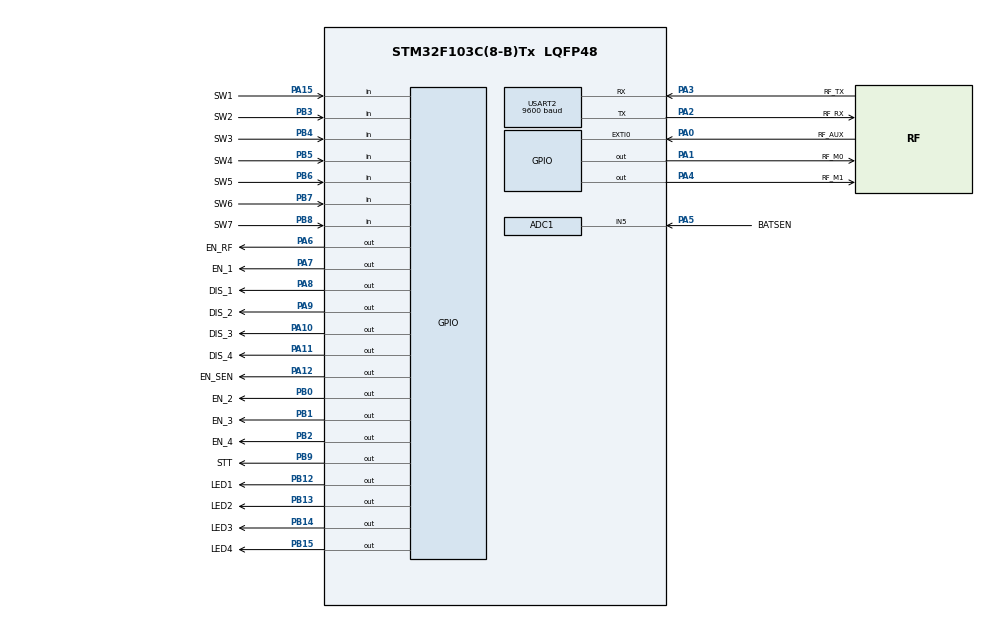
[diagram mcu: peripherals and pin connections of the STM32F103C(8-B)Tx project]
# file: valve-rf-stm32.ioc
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ADC1.Channel-0\#ChannelRegularConversion=ADC_CHANNEL_5
ADC1.ContinuousConvMode=ENABLE
ADC1.NbrOfConversionFlag=1
ADC1.Rank-0\#ChannelRegularConversion=1
ADC1.SamplingTime-0\#ChannelRegularConversion=ADC_SAMPLETIME_239CYCLES_5
ADC1.master=1
Dma.ADC1.0.Direction=DMA_PERIPH_TO_MEMORY
Dma.ADC1.0.Instance=DMA1_Channel1
Dma.ADC1.0.MemDataAlignment=DMA_MDATAALIGN_HALFWORD
Dma.ADC1.0.MemInc=DMA_MINC_ENABLE
Dma.ADC1.0.Mode=DMA_CIRCULAR
Dma.ADC1.0.PeriphDataAlignment=DMA_PDATAALIGN_HALFWORD
Dma.ADC1.0.PeriphInc=DMA_PINC_DISABLE
Dma.ADC1.0.Priority=DMA_PRIORITY_LOW
Dma.Request0=ADC1
Dma.Request1=USART2_RX
Dma.Request2=TIM2_UP
Dma.TIM2_UP.2.Direction=DMA_PERIPH_TO_MEMORY
Dma.TIM2_UP.2.Instance=DMA1_Channel2
Dma.TIM2_UP.2.MemDataAlignment=DMA_MDATAALIGN_HALFWORD
Dma.TIM2_UP.2.MemInc=DMA_MINC_ENABLE
Dma.TIM2_UP.2.Mode=DMA_CIRCULAR
Dma.TIM2_UP.2.PeriphDataAlignment=DMA_PDATAALIGN_HALFWORD
Dma.TIM2_UP.2.PeriphInc=DMA_PINC_DISABLE
Dma.TIM2_UP.2.Priority=DMA_PRIORITY_LOW
Dma.USART2_RX.1.Direction=DMA_PERIPH_TO_MEMORY
Dma.USART2_RX.1.Instance=DMA1_Channel6
Dma.USART2_RX.1.MemDataAlignment=DMA_MDATAALIGN_BYTE
Dma.USART2_RX.1.MemInc=DMA_MINC_ENABLE
Dma.USART2_RX.1.Mode=DMA_NORMAL
Dma.USART2_RX.1.PeriphDataAlignment=DMA_PDATAALIGN_BYTE
Dma.USART2_RX.1.PeriphInc=DMA_PINC_DISABLE
Dma.USART2_RX.1.Priority=DMA_PRIORITY_LOW
Mcu.Family=STM32F1
Mcu.Name=STM32F103C(8-B)Tx
Mcu.Package=LQFP48
NVIC.ADC1_2_IRQn=true\:0\:0\:false\:false\:true\:true\:true\:true
NVIC.DMA1_Channel1_IRQn=true\:0\:0\:false\:false\:true\:false\:true\:true
NVIC.DMA1_Channel2_IRQn=true\:0\:0\:false\:false\:true\:false\:true\:true
NVIC.DMA1_Channel6_IRQn=true\:0\:0\:false\:false\:true\:false\:true\:true
NVIC.EXTI0_IRQn=true\:0\:0\:false\:false\:true\:true\:true\:true
NVIC.PriorityGroup=NVIC_PRIORITYGROUP_4
NVIC.TIM2_IRQn=true\:0\:0\:false\:false\:true\:true\:true\:true
NVIC.USART2_IRQn=true\:0\:0\:false\:false\:true\:true\:true\:true
PA0-WKUP.GPIO_Label=RF_AUX
PA0-WKUP.GPIO_ModeDefaultEXTI=GPIO_MODE_IT_FALLING
PA0-WKUP.GPIO_PuPd=GPIO_PULLUP
PA0-WKUP.Signal=GPXTI0
PA1.GPIO_Label=RF_M0
PA1.Signal=GPIO_Output
PA10.GPIO_Label=DIS_3
PA10.Signal=GPIO_Output
PA11.GPIO_Label=DIS_4
PA11.Signal=GPIO_Output
PA12.GPIO_Label=EN_SEN
PA12.Signal=GPIO_Output
PA13.Mode=Serial_Wire
PA13.Signal=SYS_JTMS-SWDIO
PA14.Mode=Serial_Wire
PA14.Signal=SYS_JTCK-SWCLK
PA15.GPIO_Label=SW1
PA15.GPIO_PuPd=GPIO_NOPULL
PA15.Signal=GPIO_Input
PA2.GPIO_Label=RF_RX
PA2.Mode=Asynchronous
PA2.Signal=USART2_TX
PA3.GPIO_Label=RF_TX
PA3.Mode=Asynchronous
PA3.Signal=USART2_RX
PA4.GPIO_Label=RF_M1
PA4.Signal=GPIO_Output
PA5.GPIO_Label=BATSEN
PA5.Signal=ADCx_IN5
PA6.GPIO_Label=EN_RF
PA6.Signal=GPIO_Output
PA7.GPIO_Label=EN_1
PA7.Signal=GPIO_Output
PA8.GPIO_Label=DIS_1
PA8.Signal=GPIO_Output
PA9.GPIO_Label=DIS_2
PA9.GPIO_ModeDefaultOutputPP=GPIO_MODE_OUTPUT_PP
PA9.Signal=GPIO_Output
PB0.GPIO_Label=EN_2
PB0.Signal=GPIO_Output
PB1.GPIO_Label=EN_3
PB1.Signal=GPIO_Output
PB12.GPIO_Label=LED1
PB12.Signal=GPIO_Output
PB13.GPIO_Label=LED2
PB13.Signal=GPIO_Output
PB14.GPIO_Label=LED3
PB14.Signal=GPIO_Output
PB15.GPIO_Label=LED4
PB15.Signal=GPIO_Output
PB2.GPIO_Label=EN_4
PB2.Signal=GPIO_Output
PB3.GPIO_Label=SW2
PB3.GPIO_PuPd=GPIO_NOPULL
PB3.Signal=GPIO_Input
PB4.GPIO_Label=SW3
PB4.GPIO_PuPd=GPIO_NOPULL
PB4.Signal=GPIO_Input
PB5.GPIO_Label=SW4
PB5.GPIO_PuPd=GPIO_NOPULL
PB5.Signal=GPIO_Input
PB6.GPIO_Label=SW5
PB6.GPIO_PuPd=GPIO_NOPULL
PB6.Signal=GPIO_Input
PB7.GPIO_Label=SW6
PB7.GPIO_PuPd=GPIO_NOPULL
PB7.Signal=GPIO_Input
PB8.GPIO_Label=SW7
PB8.Signal=GPIO_Input
PB9.GPIO_Label=STT
PB9.Signal=GPIO_Output
ProjectManager.HeapSize=0x200
ProjectManager.StackSize=0x400
ProjectManager.TargetToolchain=MDK-ARM V5.32
RCC.AHBFreq_Value=8000000
RCC.APB1Freq_Value=8000000
RCC.APB1TimFreq_Value=8000000
RCC.APB2Freq_Value=8000000
RCC.APB2TimFreq_Value=8000000
RCC.HCLKFreq_Value=8000000
SH.ADCx_IN5.0=ADC1_IN5,IN5
TIM2.Period=99
TIM2.Prescaler=7999
USART2.BaudRate=9600
USART2.VirtualMode=VM_ASYNC
VP_TIM2_VS_ClockSourceINT.Mode=Internal
board=custom

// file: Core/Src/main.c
/* USER CODE BEGIN Header */
/**
  ******************************************************************************
  * @file           : main.c
  * @brief          : Main program body
  ******************************************************************************
  * @attention
  *
  * Copyright (c) 2024 STMicroelectronics.
  * All rights reserved.
  *
  * This software is licensed under terms that can be found in the LICENSE file
  * in the root directory of this software component.
  * If no LICENSE file comes with this software, it is provided AS-IS.
  *
  ******************************************************************************
  */
/* USER CODE END Header */
#include "main.h"
#include "addr.h"
#include "lora.h"
#include "process.h"

// TODO: 	Check rep frame build																		DONE
// 				Add update routing function when timeout               	DONE
//				Fix bug toggle valve when turn off from MQTT client

ADC_HandleTypeDef hadc1;
DMA_HandleTypeDef hdma_adc1;

TIM_HandleTypeDef htim2;
DMA_HandleTypeDef hdma_tim2_up;

UART_HandleTypeDef huart2;
DMA_HandleTypeDef hdma_usart2_rx;
stru_frame_t stru_frame;

/* USER CODE BEGIN PV */
static uint16_t u16_adc_value = 0;
static uint8_t au8_dma_buf[FRAME_MAX_SIZE] = {0};
static bool b_process = false;
static uint16_t u16_timer_couter = 0; // step = 0.1s
static e_frame_waiting_t e_waiting_state = WAITING_CTR;
//static bool b_waiting_ack = false;
/* USER CODE END PV */

static void SystemClock_Config(void);
static void MX_GPIO_Init(void);
static void MX_DMA_Init(void);
static void MX_ADC1_Init(void);
static void MX_USART2_UART_Init(void);
static void MX_TIM2_Init(void);
static void v_User_Init(void);
/* USER CODE BEGIN PFP */
void v_Mcu_Sleep(void);

// UART2 RX Callback Function
void HAL_UARTEx_RxEventCallback(UART_HandleTypeDef *huart, uint16_t Size)
{
	if (huart->Instance == USART2)
	{
		__HAL_UART_DISABLE_IT(&huart2, UART_IT_RXNE);
		v_frame_set_data(au8_dma_buf, (uint8_t)(Size & 0xFF));
		HAL_UARTEx_ReceiveToIdle_DMA(&huart2, au8_dma_buf, FRAME_MAX_SIZE);
		__HAL_DMA_DISABLE_IT(&hdma_usart2_rx, DMA_IT_HT);

		if(e_frame_check() == FRAME_OK) b_process = true;
	}
}

void HAL_TIM_PeriodElapsedCallback(TIM_HandleTypeDef* htim)
{
	u16_timer_couter++;
}

uint16_t u16_timer_get(void)
{
	return u16_timer_couter;
}

void v_timer_reset(void)
{
	u16_timer_couter = 0;
}

// Init function before enter main loop
void v_User_Init(void)
{
	HAL_GPIO_WritePin(EN_RF_GPIO_Port, EN_RF_Pin, GPIO_PIN_SET);
	HAL_GPIO_WritePin(STT_GPIO_Port, STT_Pin, GPIO_PIN_SET);
	HAL_ADC_Start_DMA(&hadc1,(uint32_t*) &u16_adc_value, 1);
	HAL_UARTEx_ReceiveToIdle_DMA(&huart2, au8_dma_buf, FRAME_MAX_SIZE);
	__HAL_DMA_DISABLE_IT(&hdma_usart2_rx, DMA_IT_HT);
	HAL_TIM_Base_Start_IT(&htim2);
	v_addr_setup();
	v_lora_save_params(SAVE_PERMANENT, u8_lora_set_sped(PB_8N1, UDR_9600, ADR_1200),
										 u8_lora_set_option(FM_ENABLE, IO_PUSH_PULL, WAKEUP_250, FEC_ENABLE, OPT_TP20));
	HAL_GPIO_WritePin(STT_GPIO_Port, STT_Pin, GPIO_PIN_RESET);
}

void v_Mcu_Sleep(void)
{
	HAL_SuspendTick();
	HAL_ADC_Stop_DMA(&hadc1);
	HAL_TIM_Base_Stop_IT(&htim2);
	// Sleep
	HAL_PWR_EnterSLEEPMode(PWR_MAINREGULATOR_ON, PWR_SLEEPENTRY_WFI);
	// Wakeup
	HAL_ResumeTick();
	HAL_ADC_Start_DMA(&hadc1,(uint32_t*) &u16_adc_value, 1);
	HAL_TIM_Base_Start_IT(&htim2);
}

void v_uart2_transmit(uint8_t *pData, uint16_t Size)
{
	HAL_UART_Transmit(&huart2, pData, Size, 1000);
}

uint16_t u16_adc_get_value(void)
{
	return u16_adc_value;
}

/* USER CODE END PFP */

int main(void)
{

  /* MCU Configuration--------------------------------------------------------*/

  /* Reset of all peripherals, Initializes the Flash interface and the Systick. */
  HAL_Init();

  /* Configure the system clock */
  SystemClock_Config();

  /* Initialize all configured peripherals */
  MX_GPIO_Init();
  MX_DMA_Init();
  MX_ADC1_Init();
  MX_USART2_UART_Init();
  MX_TIM2_Init();
  /* USER CODE BEGIN 2 */
	v_User_Init();
  /* USER CODE END 2 */

  /* Infinite loop */
  while (1)
  {

    /* USER CODE BEGIN 3 */
		if (b_process)
		{
			v_frame_read(&stru_frame);
			// Setup next and prev addr
			v_addr_continuous_setup(stru_frame.u8_routing_val);
			switch (stru_frame.u8_frame_typeID)
			{
				case FRAME_TYPE_CTR:
				{
					v_process_ctr_frame(&stru_frame);
					e_waiting_state = WAITING_PREV_ACK;
					b_process = false;

				}
				break;
				case FRAME_TYPE_REP:
				{
					v_process_rep_frame(&stru_frame);
					e_waiting_state = WAITING_NEXT_ACK;
					b_process = false;
				}
				break;
				case FRAME_TYPE_ACK_NEXT:
				{
					v_timer_reset();
					if (e_waiting_state == WAITING_NEXT_ACK) e_waiting_state = WAITING_CTR;
					if (e_waiting_state == WAITING_PREV_ACK) v_Mcu_Sleep();
					b_process = false;
				}
				break;
				case FRAME_TYPE_ACK_PREV:
				{
					v_timer_reset();
					if (e_waiting_state == WAITING_PREV_ACK) e_waiting_state = WAITING_REP;
					b_process = false;
				}
				break;
				}
			}
			switch (e_waiting_state)
			{
				case WAITING_CTR:
				{
					v_process_wait_ctr();
				}
				break;
				case WAITING_REP:
				{
					v_process_wait_rep();
				}
				break;
				case WAITING_PREV_ACK:
				{
					if (b_is_end_node(stru_frame.u8_routing_val)) v_process_wait_ack(&stru_frame, INCREASE_DIRECTION);
					else v_process_wait_ack(&stru_frame, DECREASE_DIRECTION);
				}
				break;
				case WAITING_NEXT_ACK:
				{
					v_process_wait_ack(&stru_frame, INCREASE_DIRECTION);
				}
				break;
				default:
				{
					v_Mcu_Sleep();
				}
				break;
			}
		HAL_Delay(10);
	}
  /* USER CODE END 3 */
}

void SystemClock_Config(void)
{
  RCC_OscInitTypeDef RCC_OscInitStruct = {0};
  RCC_ClkInitTypeDef RCC_ClkInitStruct = {0};
  RCC_PeriphCLKInitTypeDef PeriphClkInit = {0};

  /** Initializes the RCC Oscillators according to the specified parameters
  * in the RCC_OscInitTypeDef structure.
  */
  RCC_OscInitStruct.OscillatorType = RCC_OSCILLATORTYPE_HSI;
  RCC_OscInitStruct.HSIState = RCC_HSI_ON;
  RCC_OscInitStruct.HSICalibrationValue = RCC_HSICALIBRATION_DEFAULT;
  RCC_OscInitStruct.PLL.PLLState = RCC_PLL_NONE;
  if (HAL_RCC_OscConfig(&RCC_OscInitStruct) != HAL_OK)
  {
    Error_Handler();
  }

  /** Initializes the CPU, AHB and APB buses clocks
  */
  RCC_ClkInitStruct.ClockType = RCC_CLOCKTYPE_HCLK|RCC_CLOCKTYPE_SYSCLK
                              |RCC_CLOCKTYPE_PCLK1|RCC_CLOCKTYPE_PCLK2;
  RCC_ClkInitStruct.SYSCLKSource = RCC_SYSCLKSOURCE_HSI;
  RCC_ClkInitStruct.AHBCLKDivider = RCC_SYSCLK_DIV1;
  RCC_ClkInitStruct.APB1CLKDivider = RCC_HCLK_DIV1;
  RCC_ClkInitStruct.APB2CLKDivider = RCC_HCLK_DIV1;

  if (HAL_RCC_ClockConfig(&RCC_ClkInitStruct, FLASH_LATENCY_0) != HAL_OK)
  {
    Error_Handler();
  }
  PeriphClkInit.PeriphClockSelection = RCC_PERIPHCLK_ADC;
  PeriphClkInit.AdcClockSelection = RCC_ADCPCLK2_DIV2;
  if (HAL_RCCEx_PeriphCLKConfig(&PeriphClkInit) != HAL_OK)
  {
    Error_Handler();
  }
}

static void MX_ADC1_Init(void)
{

  ADC_ChannelConfTypeDef sConfig = {0};

  /** Common config
  */
  hadc1.Instance = ADC1;
  hadc1.Init.ScanConvMode = ADC_SCAN_DISABLE;
  hadc1.Init.ContinuousConvMode = ENABLE;
  hadc1.Init.DiscontinuousConvMode = DISABLE;
  hadc1.Init.ExternalTrigConv = ADC_SOFTWARE_START;
  hadc1.Init.DataAlign = ADC_DATAALIGN_RIGHT;
  hadc1.Init.NbrOfConversion = 1;
  if (HAL_ADC_Init(&hadc1) != HAL_OK)
  {
    Error_Handler();
  }

  /** Configure Regular Channel
  */
  sConfig.Channel = ADC_CHANNEL_5;
  sConfig.Rank = ADC_REGULAR_RANK_1;
  sConfig.SamplingTime = ADC_SAMPLETIME_239CYCLES_5;
  if (HAL_ADC_ConfigChannel(&hadc1, &sConfig) != HAL_OK)
  {
    Error_Handler();
  }

}

static void MX_TIM2_Init(void)
{

  TIM_ClockConfigTypeDef sClockSourceConfig = {0};
  TIM_MasterConfigTypeDef sMasterConfig = {0};

  htim2.Instance = TIM2;
  htim2.Init.Prescaler = 7999;
  htim2.Init.CounterMode = TIM_COUNTERMODE_UP;
  htim2.Init.Period = 99;
  htim2.Init.ClockDivision = TIM_CLOCKDIVISION_DIV1;
  htim2.Init.AutoReloadPreload = TIM_AUTORELOAD_PRELOAD_DISABLE;
  if (HAL_TIM_Base_Init(&htim2) != HAL_OK)
  {
    Error_Handler();
  }
  sClockSourceConfig.ClockSource = TIM_CLOCKSOURCE_INTERNAL;
  if (HAL_TIM_ConfigClockSource(&htim2, &sClockSourceConfig) != HAL_OK)
  {
    Error_Handler();
  }
  sMasterConfig.MasterOutputTrigger = TIM_TRGO_RESET;
  sMasterConfig.MasterSlaveMode = TIM_MASTERSLAVEMODE_DISABLE;
  if (HAL_TIMEx_MasterConfigSynchronization(&htim2, &sMasterConfig) != HAL_OK)
  {
    Error_Handler();
  }

}

static void MX_USART2_UART_Init(void)
{

  huart2.Instance = USART2;
  huart2.Init.BaudRate = 9600;
  huart2.Init.WordLength = UART_WORDLENGTH_8B;
  huart2.Init.StopBits = UART_STOPBITS_1;
  huart2.Init.Parity = UART_PARITY_NONE;
  huart2.Init.Mode = UART_MODE_TX_RX;
  huart2.Init.HwFlowCtl = UART_HWCONTROL_NONE;
  huart2.Init.OverSampling = UART_OVERSAMPLING_16;
  if (HAL_UART_Init(&huart2) != HAL_OK)
  {
    Error_Handler();
  }

}

static void MX_DMA_Init(void)
{

  /* DMA controller clock enable */
  __HAL_RCC_DMA1_CLK_ENABLE();

  /* DMA interrupt init */
  /* DMA1_Channel1_IRQn interrupt configuration */
  HAL_NVIC_SetPriority(DMA1_Channel1_IRQn, 0, 0);
  HAL_NVIC_EnableIRQ(DMA1_Channel1_IRQn);
  /* DMA1_Channel2_IRQn interrupt configuration */
  HAL_NVIC_SetPriority(DMA1_Channel2_IRQn, 0, 0);
  HAL_NVIC_EnableIRQ(DMA1_Channel2_IRQn);
  /* DMA1_Channel6_IRQn interrupt configuration */
  HAL_NVIC_SetPriority(DMA1_Channel6_IRQn, 0, 0);
  HAL_NVIC_EnableIRQ(DMA1_Channel6_IRQn);

}

static void MX_GPIO_Init(void)
{
  GPIO_InitTypeDef GPIO_InitStruct = {0};

  /* GPIO Ports Clock Enable */
  __HAL_RCC_GPIOA_CLK_ENABLE();
  __HAL_RCC_GPIOB_CLK_ENABLE();

  /*Configure GPIO pin Output Level */
  HAL_GPIO_WritePin(GPIOA, RF_M0_Pin|RF_M1_Pin|EN_RF_Pin|EN_1_Pin
                          |DIS_1_Pin|DIS_2_Pin|DIS_3_Pin|DIS_4_Pin
                          |EN_SEN_Pin, GPIO_PIN_RESET);

  /*Configure GPIO pin Output Level */
  HAL_GPIO_WritePin(GPIOB, EN_2_Pin|EN_3_Pin|EN_4_Pin|LED1_Pin
                          |LED2_Pin|LED3_Pin|LED4_Pin|STT_Pin, GPIO_PIN_RESET);

  /*Configure GPIO pin : RF_AUX_Pin */
  GPIO_InitStruct.Pin = RF_AUX_Pin;
  GPIO_InitStruct.Mode = GPIO_MODE_IT_FALLING;
  GPIO_InitStruct.Pull = GPIO_PULLUP;
  HAL_GPIO_Init(RF_AUX_GPIO_Port, &GPIO_InitStruct);

  /*Configure GPIO pins : RF_M0_Pin RF_M1_Pin EN_RF_Pin EN_1_Pin
                           DIS_1_Pin DIS_2_Pin DIS_3_Pin DIS_4_Pin
                           EN_SEN_Pin */
  GPIO_InitStruct.Pin = RF_M0_Pin|RF_M1_Pin|EN_RF_Pin|EN_1_Pin
                          |DIS_1_Pin|DIS_2_Pin|DIS_3_Pin|DIS_4_Pin
                          |EN_SEN_Pin;
  GPIO_InitStruct.Mode = GPIO_MODE_OUTPUT_PP;
  GPIO_InitStruct.Pull = GPIO_NOPULL;
  GPIO_InitStruct.Speed = GPIO_SPEED_FREQ_LOW;
  HAL_GPIO_Init(GPIOA, &GPIO_InitStruct);

  /*Configure GPIO pins : EN_2_Pin EN_3_Pin EN_4_Pin LED1_Pin
                           LED2_Pin LED3_Pin LED4_Pin STT_Pin */
  GPIO_InitStruct.Pin = EN_2_Pin|EN_3_Pin|EN_4_Pin|LED1_Pin
                          |LED2_Pin|LED3_Pin|LED4_Pin|STT_Pin;
  GPIO_InitStruct.Mode = GPIO_MODE_OUTPUT_PP;
  GPIO_InitStruct.Pull = GPIO_NOPULL;
  GPIO_InitStruct.Speed = GPIO_SPEED_FREQ_LOW;
  HAL_GPIO_Init(GPIOB, &GPIO_InitStruct);

  /*Configure GPIO pin : SW1_Pin */
  GPIO_InitStruct.Pin = SW1_Pin;
  GPIO_InitStruct.Mode = GPIO_MODE_INPUT;
  GPIO_InitStruct.Pull = GPIO_NOPULL;
  HAL_GPIO_Init(SW1_GPIO_Port, &GPIO_InitStruct);

  /*Configure GPIO pins : SW2_Pin SW3_Pin SW4_Pin SW5_Pin
                           SW6_Pin SW7_Pin */
  GPIO_InitStruct.Pin = SW2_Pin|SW3_Pin|SW4_Pin|SW5_Pin
                          |SW6_Pin|SW7_Pin;
  GPIO_InitStruct.Mode = GPIO_MODE_INPUT;
  GPIO_InitStruct.Pull = GPIO_NOPULL;
  HAL_GPIO_Init(GPIOB, &GPIO_InitStruct);

  /* EXTI interrupt init*/
  HAL_NVIC_SetPriority(EXTI0_IRQn, 0, 0);
  HAL_NVIC_EnableIRQ(EXTI0_IRQn);

}

void Error_Handler(void)
{
  __disable_irq();
  while (1)
  {
  }
}
